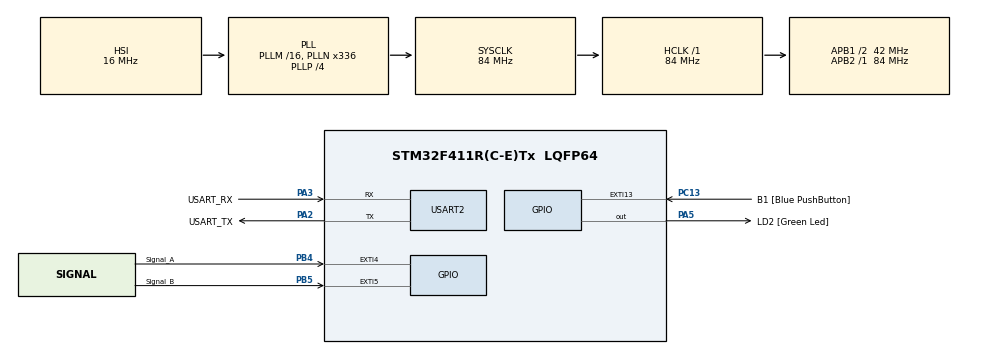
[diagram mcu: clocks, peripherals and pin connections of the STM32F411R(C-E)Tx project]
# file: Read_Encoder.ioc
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Mcu.Family=STM32F4
Mcu.Name=STM32F411R(C-E)Tx
Mcu.Package=LQFP64
NVIC.EXTI4_IRQn=true\:0\:0\:false\:false\:true\:true\:true
NVIC.EXTI9_5_IRQn=true\:0\:0\:false\:false\:true\:true\:true
NVIC.PriorityGroup=NVIC_PRIORITYGROUP_0
NVIC.TIM3_IRQn=true\:0\:0\:false\:false\:true\:true\:true
NVIC.TIM4_IRQn=true\:0\:0\:false\:false\:true\:true\:true
PA13.GPIO_Label=TMS
PA13.Mode=Serial_Wire
PA13.Signal=SYS_JTMS-SWDIO
PA14.GPIO_Label=TCK
PA14.Mode=Serial_Wire
PA14.Signal=SYS_JTCK-SWCLK
PA2.GPIO_Label=USART_TX
PA2.Mode=Asynchronous
PA2.Signal=USART2_TX
PA3.GPIO_Label=USART_RX
PA3.Mode=Asynchronous
PA3.Signal=USART2_RX
PA5.GPIO_Label=LD2 [Green Led]
PA5.Signal=GPIO_Output
PB3.GPIO_Label=SWO
PB3.Signal=SYS_JTDO-SWO
PB4.GPIO_Label=Signal_A
PB4.GPIO_ModeDefaultEXTI=GPIO_MODE_IT_RISING_FALLING
PB4.Signal=GPXTI4
PB5.GPIO_Label=Signal_B
PB5.GPIO_ModeDefaultEXTI=GPIO_MODE_IT_RISING_FALLING
PB5.Signal=GPXTI5
PC13-ANTI_TAMP.GPIO_Label=B1 [Blue PushButton]
PC13-ANTI_TAMP.GPIO_ModeDefaultEXTI=GPIO_MODE_IT_FALLING
PC13-ANTI_TAMP.Signal=GPXTI13
PC14-OSC32_IN.Mode=LSE-External-Oscillator
PC14-OSC32_IN.Signal=RCC_OSC32_IN
PC15-OSC32_OUT.Mode=LSE-External-Oscillator
PC15-OSC32_OUT.Signal=RCC_OSC32_OUT
PH0\ -\ OSC_IN.Mode=HSE-External-Clock-Source
PH0\ -\ OSC_IN.Signal=RCC_OSC_IN
PH1\ -\ OSC_OUT.Mode=HSE-External-Clock-Source
PH1\ -\ OSC_OUT.Signal=RCC_OSC_OUT
ProjectManager.HeapSize=0x200
ProjectManager.StackSize=0x400
ProjectManager.TargetToolchain=SW4STM32
RCC.48MHZClocksFreq_Value=84000000
RCC.AHBFreq_Value=84000000
RCC.APB1CLKDivider=RCC_HCLK_DIV2
RCC.APB1Freq_Value=42000000
RCC.APB1TimFreq_Value=84000000
RCC.APB2Freq_Value=84000000
RCC.APB2TimFreq_Value=84000000
RCC.CortexFreq_Value=84000000
RCC.FLatency-AdvancedSettings=FLASH_LATENCY_2
RCC.HCLKFreq_Value=84000000
RCC.HSE_VALUE=8000000
RCC.HSI_VALUE=16000000
RCC.PLLN=336
RCC.PLLP=RCC_PLLP_DIV4
RCC.SYSCLKFreq_VALUE=84000000
RCC.SYSCLKSource=RCC_SYSCLKSOURCE_PLLCLK
RCC.VCOOutputFreq_Value=336000000
TIM3.AutoReloadPreload=TIM_AUTORELOAD_PRELOAD_ENABLE
TIM3.ClockDivision=TIM_CLOCKDIVISION_DIV1
TIM3.Period=1999
TIM3.Prescaler=41999
TIM3.TIM_MasterOutputTrigger=TIM_TRGO_RESET
TIM4.Period=10000
TIM4.Prescaler=830
TIM4.TIM_MasterOutputTrigger=TIM_TRGO_RESET
USART2.VirtualMode=VM_ASYNC
VP_TIM3_VS_ClockSourceINT.Mode=Internal
VP_TIM4_VS_ClockSourceINT.Mode=Internal
board=NUCLEO-F411RE

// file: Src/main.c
/* USER CODE BEGIN Header */
/**
  ******************************************************************************
  * @file           : main.c
  * @brief          : Main program body
  ******************************************************************************
  * @attention
  *
  * <h2><center>&copy; Copyright (c) 2019 STMicroelectronics.
  * All rights reserved.</center></h2>
  *
  * This software component is licensed by ST under BSD 3-Clause license,
  * the "License"; You may not use this file except in compliance with the
  * License. You may obtain a copy of the License at:
  *                        opensource.org/licenses/BSD-3-Clause
  *
  ******************************************************************************
  */
/* USER CODE END Header */

#include "main.h"

TIM_HandleTypeDef htim3;
TIM_HandleTypeDef htim4;

UART_HandleTypeDef huart2;

/* USER CODE BEGIN PV */
int polA_cont_up = 0;
int polA_cont_down = 0;
int polB_cont_down = 0;
int polB_cont_up = 0;
int cp;
double resolution = 0.000005;
double mult_fact = 5.238726792;
double mult_fact2 = 5.170416667;
double measurment_per = 0.4;
double enc_speed = 0;
double wheel_speed = 0;
double wheel_speed2 = 0;
/* USER CODE END PV */

void SystemClock_Config(void);
static void MX_GPIO_Init(void);
static void MX_USART2_UART_Init(void);
static void MX_TIM3_Init(void);
static void MX_TIM4_Init(void);
/* USER CODE BEGIN PFP */
void print(UART_HandleTypeDef *huart, char* text);

/* USER CODE END PFP */

int main(void)
{

  /* MCU Configuration--------------------------------------------------------*/

  /* Reset of all peripherals, Initializes the Flash interface and the Systick. */
  HAL_Init();

  /* Configure the system clock */
  SystemClock_Config();

  /* Initialize all configured peripherals */
  MX_GPIO_Init();
  MX_USART2_UART_Init();
  MX_TIM3_Init();
  MX_TIM4_Init();
  /* USER CODE BEGIN 2 */
  RCC->APB1ENR |= (RCC_APB1ENR_TIM3EN | RCC_APB1ENR_TIM4EN); //enable MCU debug module clock
  HAL_DBGMCU_EnableDBGStandbyMode();
  HAL_DBGMCU_EnableDBGStopMode();
  DBGMCU->APB1FZ |= (DBGMCU_APB1_FZ_DBG_TIM3_STOP | DBGMCU_APB1_FZ_DBG_TIM4_STOP);
  // Disabling the GPIO interrupts in order to activate them when the period of the first timer passes.
  HAL_NVIC_DisableIRQ(EXTI4_IRQn);
  HAL_NVIC_DisableIRQ(EXTI9_5_IRQn);
  __HAL_TIM_SET_COUNTER(&htim3,1);
  HAL_TIM_Base_Start(&htim3);
  HAL_TIM_Base_Start_IT(&htim3);

  //HAL_DBGMCU_EnableDBGStopMode();
  //

  print(&huart2, "\nAll initialized\n");
  HAL_GPIO_TogglePin(GPIOA, GPIO_PIN_5);

  char message[256] = "";
  char message2[256] = "";
  char message3[256] = "";
  char message4[256] = "";
  char mes[200] = "";
  int val = -1;
  int val2 = -1;
  /* USER CODE END 2 */

  /* Infinite loop */
  while (1)
  {

	  sprintf(message, "\r\nCP = %d -- Encoder = %f", cp, enc_speed);
	  sprintf(message2, "\r\nSpeed1 = %f -- Speed2 = %f", wheel_speed, wheel_speed2);
	  print(&huart2, message);
	  print(&huart2, message2);
	  val = __HAL_TIM_GET_COUNTER(&htim3);
	  val2 = __HAL_TIM_GET_COUNTER(&htim4);
	  sprintf(mes,"\r\n\n TIM3 = %d -- TIM4 = %d",val,val2);
	  print(&huart2, mes);

	  sprintf(message, "\r\n\nA_Up = %d -- A_Down = %d", polA_cont_up, polA_cont_down);
	  sprintf(message2, "\r\nB_Up = %d -- B_Down = %d\n", polB_cont_up, polB_cont_down);
	  print(&huart2, message);
	  print(&huart2, message2);

	  HAL_Delay(1000);
  }
}

void SystemClock_Config(void)
{
  RCC_OscInitTypeDef RCC_OscInitStruct = {0};
  RCC_ClkInitTypeDef RCC_ClkInitStruct = {0};

  /** Configure the main internal regulator output voltage
  */
  __HAL_RCC_PWR_CLK_ENABLE();
  __HAL_PWR_VOLTAGESCALING_CONFIG(PWR_REGULATOR_VOLTAGE_SCALE1);
  /** Initializes the CPU, AHB and APB busses clocks
  */
  RCC_OscInitStruct.OscillatorType = RCC_OSCILLATORTYPE_HSI;
  RCC_OscInitStruct.HSIState = RCC_HSI_ON;
  RCC_OscInitStruct.HSICalibrationValue = RCC_HSICALIBRATION_DEFAULT;
  RCC_OscInitStruct.PLL.PLLState = RCC_PLL_ON;
  RCC_OscInitStruct.PLL.PLLSource = RCC_PLLSOURCE_HSI;
  RCC_OscInitStruct.PLL.PLLM = 16;
  RCC_OscInitStruct.PLL.PLLN = 336;
  RCC_OscInitStruct.PLL.PLLP = RCC_PLLP_DIV4;
  RCC_OscInitStruct.PLL.PLLQ = 4;
  if (HAL_RCC_OscConfig(&RCC_OscInitStruct) != HAL_OK)
  {
    Error_Handler();
  }
  /** Initializes the CPU, AHB and APB busses clocks
  */
  RCC_ClkInitStruct.ClockType = RCC_CLOCKTYPE_HCLK|RCC_CLOCKTYPE_SYSCLK
                              |RCC_CLOCKTYPE_PCLK1|RCC_CLOCKTYPE_PCLK2;
  RCC_ClkInitStruct.SYSCLKSource = RCC_SYSCLKSOURCE_PLLCLK;
  RCC_ClkInitStruct.AHBCLKDivider = RCC_SYSCLK_DIV1;
  RCC_ClkInitStruct.APB1CLKDivider = RCC_HCLK_DIV2;
  RCC_ClkInitStruct.APB2CLKDivider = RCC_HCLK_DIV1;

  if (HAL_RCC_ClockConfig(&RCC_ClkInitStruct, FLASH_LATENCY_2) != HAL_OK)
  {
    Error_Handler();
  }
}

static void MX_TIM3_Init(void)
{

  TIM_ClockConfigTypeDef sClockSourceConfig = {0};
  TIM_MasterConfigTypeDef sMasterConfig = {0};

  htim3.Instance = TIM3;
  htim3.Init.Prescaler = 41999;
  htim3.Init.CounterMode = TIM_COUNTERMODE_UP;
  htim3.Init.Period = 1999;
  htim3.Init.ClockDivision = TIM_CLOCKDIVISION_DIV1;
  htim3.Init.AutoReloadPreload = TIM_AUTORELOAD_PRELOAD_ENABLE;
  if (HAL_TIM_Base_Init(&htim3) != HAL_OK)
  {
    Error_Handler();
  }
  sClockSourceConfig.ClockSource = TIM_CLOCKSOURCE_INTERNAL;
  if (HAL_TIM_ConfigClockSource(&htim3, &sClockSourceConfig) != HAL_OK)
  {
    Error_Handler();
  }
  sMasterConfig.MasterOutputTrigger = TIM_TRGO_RESET;
  sMasterConfig.MasterSlaveMode = TIM_MASTERSLAVEMODE_DISABLE;
  if (HAL_TIMEx_MasterConfigSynchronization(&htim3, &sMasterConfig) != HAL_OK)
  {
    Error_Handler();
  }

}

static void MX_TIM4_Init(void)
{

  /* USER CODE BEGIN TIM4_Init 0 */

	//DO NOT increase the timer over 9 seconds in order to don't get an integer overflow!!!!!

  /* USER CODE END TIM4_Init 0 */

  TIM_ClockConfigTypeDef sClockSourceConfig = {0};
  TIM_MasterConfigTypeDef sMasterConfig = {0};

  htim4.Instance = TIM4;
  htim4.Init.Prescaler = 830;
  htim4.Init.CounterMode = TIM_COUNTERMODE_UP;
  htim4.Init.Period = 9999;
  htim4.Init.ClockDivision = TIM_CLOCKDIVISION_DIV4;
  htim4.Init.AutoReloadPreload = TIM_AUTORELOAD_PRELOAD_DISABLE;
  if (HAL_TIM_Base_Init(&htim4) != HAL_OK)
  {
    Error_Handler();
  }
  sClockSourceConfig.ClockSource = TIM_CLOCKSOURCE_INTERNAL;
  if (HAL_TIM_ConfigClockSource(&htim4, &sClockSourceConfig) != HAL_OK)
  {
    Error_Handler();
  }
  sMasterConfig.MasterOutputTrigger = TIM_TRGO_RESET;
  sMasterConfig.MasterSlaveMode = TIM_MASTERSLAVEMODE_DISABLE;
  if (HAL_TIMEx_MasterConfigSynchronization(&htim4, &sMasterConfig) != HAL_OK)
  {
    Error_Handler();
  }

}

static void MX_USART2_UART_Init(void)
{

  huart2.Instance = USART2;
  huart2.Init.BaudRate = 115200;
  huart2.Init.WordLength = UART_WORDLENGTH_8B;
  huart2.Init.StopBits = UART_STOPBITS_1;
  huart2.Init.Parity = UART_PARITY_NONE;
  huart2.Init.Mode = UART_MODE_TX_RX;
  huart2.Init.HwFlowCtl = UART_HWCONTROL_NONE;
  huart2.Init.OverSampling = UART_OVERSAMPLING_16;
  if (HAL_UART_Init(&huart2) != HAL_OK)
  {
    Error_Handler();
  }

}

static void MX_GPIO_Init(void)
{
  GPIO_InitTypeDef GPIO_InitStruct = {0};

  /* GPIO Ports Clock Enable */
  __HAL_RCC_GPIOC_CLK_ENABLE();
  __HAL_RCC_GPIOH_CLK_ENABLE();
  __HAL_RCC_GPIOA_CLK_ENABLE();
  __HAL_RCC_GPIOB_CLK_ENABLE();

  /*Configure GPIO pin Output Level */
  HAL_GPIO_WritePin(LD2_GPIO_Port, LD2_Pin, GPIO_PIN_RESET);

  /*Configure GPIO pin : B1_Pin */
  GPIO_InitStruct.Pin = B1_Pin;
  GPIO_InitStruct.Mode = GPIO_MODE_IT_FALLING;
  GPIO_InitStruct.Pull = GPIO_NOPULL;
  HAL_GPIO_Init(B1_GPIO_Port, &GPIO_InitStruct);

  /*Configure GPIO pin : LD2_Pin */
  GPIO_InitStruct.Pin = LD2_Pin;
  GPIO_InitStruct.Mode = GPIO_MODE_OUTPUT_PP;
  GPIO_InitStruct.Pull = GPIO_NOPULL;
  GPIO_InitStruct.Speed = GPIO_SPEED_FREQ_LOW;
  HAL_GPIO_Init(LD2_GPIO_Port, &GPIO_InitStruct);

  /*Configure GPIO pins : Signal_A_Pin Signal_B_Pin */
  GPIO_InitStruct.Pin = Signal_A_Pin|Signal_B_Pin;
  GPIO_InitStruct.Mode = GPIO_MODE_IT_RISING_FALLING;
  GPIO_InitStruct.Pull = GPIO_NOPULL;
  HAL_GPIO_Init(GPIOB, &GPIO_InitStruct);

  /* EXTI interrupt init*/
  HAL_NVIC_SetPriority(EXTI4_IRQn, 0, 0);
  HAL_NVIC_EnableIRQ(EXTI4_IRQn);

  HAL_NVIC_SetPriority(EXTI9_5_IRQn, 0, 0);
  HAL_NVIC_EnableIRQ(EXTI9_5_IRQn);

}

/* USER CODE BEGIN 4 */

// print on uart
void print(UART_HandleTypeDef *huart, char* text){
  HAL_UART_Transmit(huart, (uint8_t*)text, strlen(text), 5);
}

void HAL_TIM_PeriodElapsedCallback(TIM_HandleTypeDef *htim){
	if(htim == &htim3){
		// Initializing all the variables to calculate the speed.
		cp = 0;
		polA_cont_up = 0;
		polA_cont_down = 0;
		polB_cont_up = 0;
		polB_cont_down = 0;
		HAL_TIM_Base_Start(&htim4);
		HAL_TIM_Base_Start_IT(&htim4);
		HAL_NVIC_EnableIRQ(EXTI4_IRQn);
		HAL_NVIC_EnableIRQ(EXTI9_5_IRQn);
		HAL_GPIO_TogglePin(GPIOA, GPIO_PIN_5);
	}
	/* Here we are calculating the speed thanks to the diameter of the encoder, of the wheel and the period
	   of the timer of 0.1s

	  Then we restart the first timer.
	*/
	if(htim == &htim4){
		HAL_NVIC_DisableIRQ(EXTI4_IRQn);
		HAL_NVIC_DisableIRQ(EXTI9_5_IRQn);
		HAL_TIM_Base_Stop(&htim4);
		// The next line it is not necessary but can be a good practice
		__HAL_TIM_SET_COUNTER(&htim4,0);

		char message[256] = "";
		char message2[256] = "";
		char mes[200] = "";
		int val = -1;
		int val2 = -1;

//		sprintf(message, "\r\nCP = %u -- Encoder = %f", cp, enc_speed);
//		sprintf(message2, "\r\nSpeed1 = %f -- Speed2 = %f", wheel_speed, wheel_speed2);
//		print(&huart2, message);
//		print(&huart2, message2);
//		val = __HAL_TIM_GET_COUNTER(&htim3);
//		val2 = __HAL_TIM_GET_COUNTER(&htim4);
//		sprintf(mes,"\r\n TIM3 = %d -- TIM4 = %d",val,val2);
//		print(&huart2, mes);

		// Resolution = 5um = 0.000005 m
		// cpr = 48'000
		// encoder diameter = 75.4 mm = 0.0754 m
		// wheel diameter = 0.395 m
		// encoder circumference = 3.1415926535 * 0.0754 = 0.236876086
		// wheel circumference = 3.1415926535 * 0.395 = 1.2409290981325
		// speed multiplier factor = 1.2409290981325 ÷ 0.236876086 = 5.238726792
		// second mult_factor = 1.2409/0.24 = 5.170416667
		// encoder speed = Resolution*cp/0.4s
		// wheel speed = encoder speed * sp_mult

		enc_speed = resolution*cp*-3.60/measurment_per;
		wheel_speed = enc_speed*mult_fact;
		wheel_speed2 = resolution*cp*mult_fact2*-3.6/measurment_per;

	}
}

/* USER CODE END 4 */

void Error_Handler(void)
{
}

/************************ (C) COPYRIGHT STMicroelectronics *****END OF FILE****/
